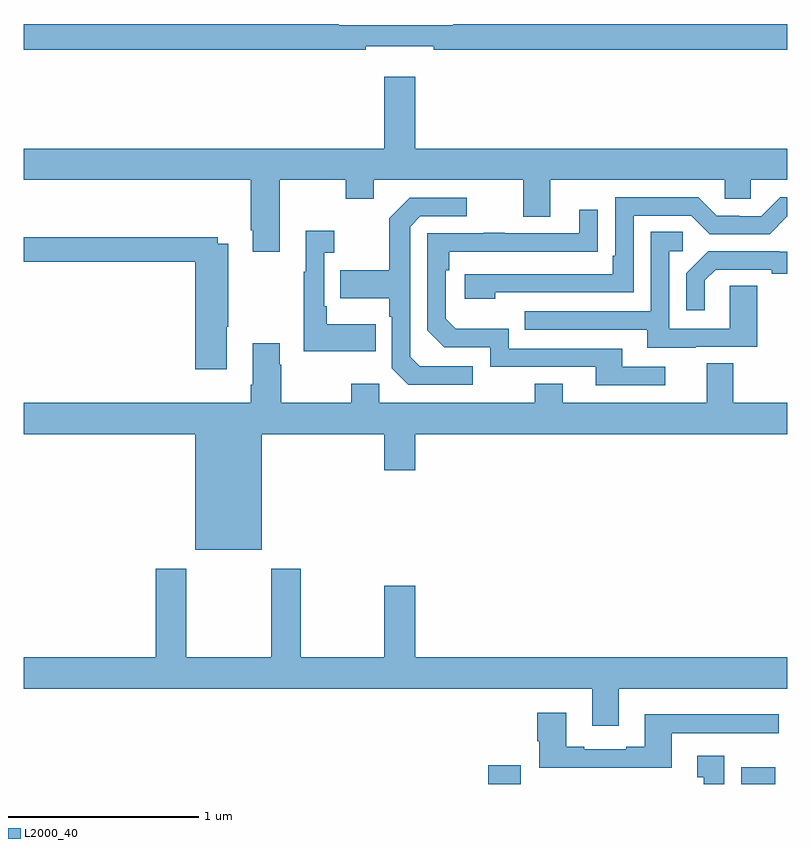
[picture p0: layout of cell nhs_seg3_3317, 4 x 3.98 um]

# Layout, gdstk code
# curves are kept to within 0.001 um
import gdstk
lib = gdstk.Library(unit=1e-6, precision=1e-09)
def R(c, l, rs):  # rectangles x0, y0, x1, y1
    for r in rs: c.add(gdstk.rectangle(r[:2], r[2:], *l))
def P(c, l, *ps):  # polygons
    for p in ps: c.add(gdstk.Polygon(p, *l))
L2000_40 = (2000, 40)

nhs_seg3_3317 = lib.new_cell('nhs_seg3_3317')
R(nhs_seg3_3317, L2000_40, [(285.434,716.4,285.604,716.497), (286.757,716.4,286.936,716.488)])
P(nhs_seg3_3317, L2000_40, [(284.792,720.263),(285.148,720.263),(285.148,720.244),(287,720.244),(287,720.38),(285.251,720.38),(285.251,720.373),(284.651,720.373),(284.651,720.38),(283,720.38),(283,720.244),(284.792,720.244)],
  [(284.341,719.564),(284.686,719.564),(284.686,719.465),(284.833,719.465),(284.833,719.564),(285.617,719.564),(285.617,719.37),(285.757,719.37),(285.757,719.564),(286.671,719.564),(286.671,719.466),(286.809,719.466),(286.809,719.564),(287,719.564),(287,719.728),(285.052,719.728),(285.052,720.103),(284.888,720.103),(284.888,719.728),(283,719.728),(283,719.564),(284.189,719.564),(284.189,719.299),(284.201,719.299),(284.201,719.187),(284.341,719.187)],
  [(285.47,718.974),(286.194,718.974),(286.194,719.376),(286.497,719.376),(286.593,719.28),(286.908,719.28),(287,719.372),(287,719.473),(286.963,719.473),(286.863,719.373),(286.748,719.373),(286.748,719.376),(286.629,719.376),(286.533,719.472),(286.098,719.472),(286.098,719.167),(286.085,719.167),(286.085,719.07),(285.309,719.07),(285.309,718.94),(285.47,718.94)],
  [(285.352,718.587),(285.075,718.587),(285.024,718.638),(285.024,719.319),(285.078,719.373),(285.322,719.373),(285.322,719.469),(285.021,719.469),(284.916,719.363),(284.916,719.091),(284.659,719.091),(284.659,718.943),(284.916,718.943),(284.916,718.847),(284.928,718.847),(284.928,718.578),(285.015,718.491),(285.352,718.491)],
  [(286.36,718.584),(286.135,718.584),(286.135,718.68),(285.54,718.68),(285.54,718.783),(285.263,718.783),(285.21,718.836),(285.21,719.09),(285.23,719.09),(285.23,719.187),(286.007,719.188),(286.007,719.407),(285.911,719.407),(285.911,719.283),(285.521,719.283),(285.521,719.288),(285.409,719.288),(285.409,719.283),(285.114,719.283),(285.114,718.776),(285.204,718.686),(285.444,718.686),(285.444,718.584),(285.995,718.584),(285.995,718.488),(286.36,718.488)],
  [(284.843,718.807),(284.587,718.807),(284.587,718.903),(284.574,718.903),(284.574,719.183),(284.626,719.183),(284.626,719.296),(284.477,719.296),(284.477,719.083),(284.466,719.083),(284.466,718.667),(284.843,718.667)],
  [(286.519,718.689),(286.843,718.689),(286.843,719.009),(286.698,719.009),(286.698,718.785),(286.38,718.785),(286.38,719.19),(286.453,719.19),(286.453,719.291),(286.284,719.291),(286.284,718.875),(285.625,718.875),(285.625,718.779),(286.265,718.779),(286.265,718.685),(286.519,718.685)],
  [(284.065,718.795),(284.073,718.795),(284.073,719.23),(284.016,719.23),(284.016,719.263),(283,719.263),(283,719.134),(283.898,719.134),(283.898,718.572),(284.065,718.572)],
  [(286.567,719.037),(286.624,719.094),(286.919,719.094),(286.919,719.072),(287,719.072),(287,719.187),(286.958,719.187),(286.958,719.19),(286.586,719.19),(286.47,719.074),(286.47,718.881),(286.567,718.881)],
  [(284.248,718.232),(284.888,718.232),(284.888,718.044),(285.052,718.044),(285.052,718.232),(287,718.232),(287,718.396),(286.717,718.396),(286.717,718.604),(286.577,718.604),(286.577,718.396),(285.823,718.396),(285.823,718.495),(285.676,718.495),(285.676,718.396),(284.862,718.396),(284.862,718.495),(284.716,718.495),(284.716,718.396),(284.349,718.396),(284.349,718.595),(284.341,718.595),(284.341,718.708),(284.201,718.708),(284.201,718.492),(284.189,718.492),(284.189,718.396),(283,718.396),(283,718.232),(283.898,718.232),(283.898,717.626),(284.248,717.626)],
  [(286.117,716.9),(287,716.9),(287,717.064),(285.052,717.064),(285.052,717.439),(284.888,717.439),(284.888,717.064),(284.451,717.064),(284.451,717.526),(284.296,717.526),(284.296,717.064),(283.851,717.064),(283.851,717.526),(283.691,717.526),(283.691,717.064),(283,717.064),(283,716.9),(285.977,716.9),(285.977,716.706),(286.117,716.706)],
  [(286.393,716.667),(286.954,716.667),(286.954,716.764),(286.253,716.764),(286.253,716.596),(286.157,716.596),(286.157,716.583),(285.937,716.583),(285.937,716.596),(285.841,716.596),(285.841,716.773),(285.689,716.773),(285.689,716.625),(285.701,716.625),(285.701,716.486),(286.393,716.486)],
  [(286.669,716.548),(286.529,716.548),(286.529,716.435),(286.562,716.435),(286.562,716.4),(286.669,716.4)])

lib.write_gds('nhs_seg3_3317.gds')
